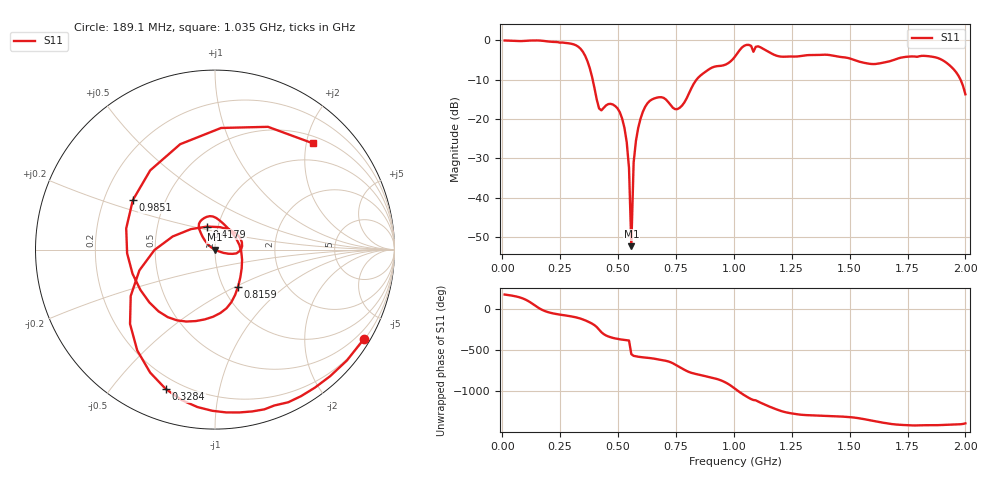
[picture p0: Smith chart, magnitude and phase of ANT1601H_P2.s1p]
!Created with skrf (http://scikit-rf.org).
# Hz S RI R 50.0
!freq ReS11 ImS11
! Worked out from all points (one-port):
!   201 points, 10 MHz to 2 GHz, reference 50 ohm
!   lowest |S11| = -52.3 dB at 557.2 MHz (marker M1), VSWR 1.00, Z = 49.8 + j0.0454 ohm
!   |S11| at or under -10 dB: 390.2 MHz to 839.4 MHz (449.3 MHz wide, 73.1 % of centre); 1.979 GHz to end of sweep
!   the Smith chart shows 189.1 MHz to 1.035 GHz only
!   S11 on the Smith chart (normalised r, x): 189.1 MHz: 0.23, -3.61; 328.4 MHz: 0.14, -0.70; 417.9 MHz: 0.89, +0.23; 816 MHz: 1.17, -0.51; 985.1 MHz: 0.32, +0.25; 1.035 GHz: 0.63, +2.13
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1e7  -0.9865 0.0723
7.965e7  -0.7125 0.6602
1.1945e8  0.1056 0.9816
1.493e8  0.8878 0.4374
1.891e8  0.8306 -0.4965
2.5875e8  0.275 -0.8901
3.284e8  -0.2744 -0.7766
3.682e8  -0.4696 -0.2584
4.1795e8  -0.044 0.1284
5.075e8  0.1197 -0.021
5.473e8  0.0216 -0.00993
5.5725e8  -0.00238 0.000456
5.672e8  -0.0238 0.0146
5.9705e8  -0.0698 0.0727
7.5625e8  0.1189 0.06
8.1595e8  0.1286 -0.2059
9.1545e8  -0.2632 -0.3763
9.851e8  -0.4576 0.2762
1.005e9  -0.1943 0.5871
1.03485e9  0.5463 0.5917
1.0647e9  0.8678 -0.0565
1.1244e9  0.2151 -0.7533
1.1841e9  -0.5136 -0.3728
1.25375e9  -0.5972 0.161
1.5025e9  -0.3019 0.4987
1.75125e9  0.5676 0.2397
1.91045e9  0.476 0.2448
2e9  0.1436 0.1468
